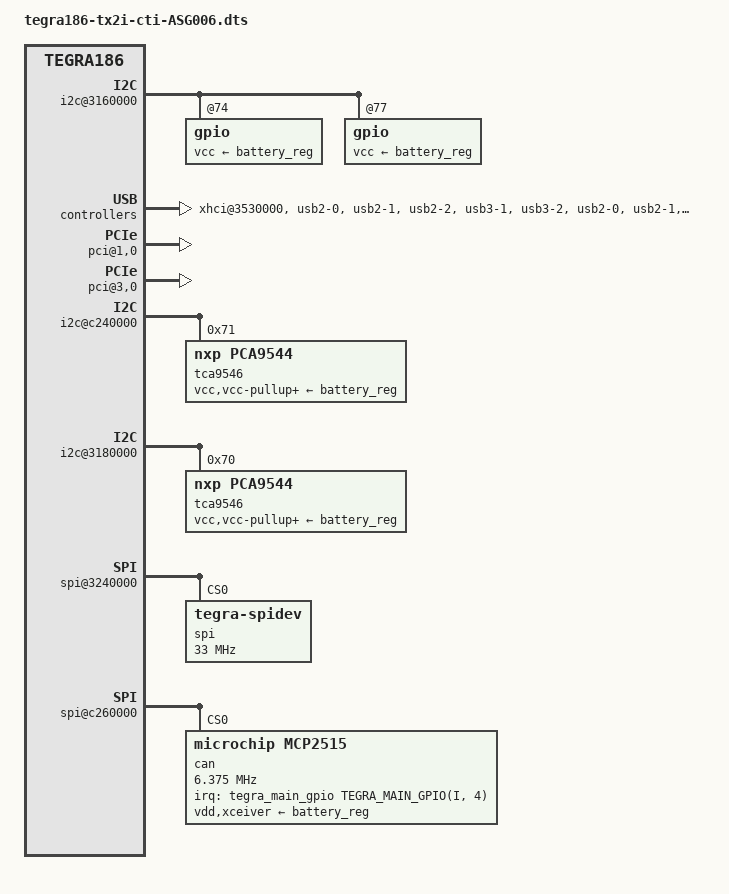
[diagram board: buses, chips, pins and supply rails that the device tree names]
#include "tegra186-tx2i-cti-base.dts"

/{
    nvidia,dtsfilename = "tegra186-tx2i-cti-ASG006.dts";

    gpio@2200000 {
    /*enable this to enabled PCIe Controller #2*/
        pcie0_lane2_mux {
             status = "okay";
        };
    /******************************************/
    /*enable these two to enable USB3 Port 0*/
        e3325_sdio_rst {
           status = "disabled";
        };
        e3325_lane0_mux {
            status = "disabled";
        };
    /******************************************/

    };
	
	pinmux@2430000 {
		common {
			gpio_cam4_pn3 {
				nvidia,pins = "gpio_cam4_pn3";
				nvidia,function = "spi4";
				nvidia,pull = <TEGRA_PIN_PULL_DOWN>;
				nvidia,tristate = <TEGRA_PIN_DISABLE>;
				nvidia,enable-input = <TEGRA_PIN_DISABLE>;
				nvidia,lpdr = <TEGRA_PIN_DISABLE>;
			};

			gpio_cam5_pn4 {
				nvidia,pins = "gpio_cam5_pn4";
				nvidia,function = "spi4";
				nvidia,pull = <TEGRA_PIN_PULL_DOWN>;
				nvidia,tristate = <TEGRA_PIN_ENABLE>;
				nvidia,enable-input = <TEGRA_PIN_ENABLE>;
				nvidia,lpdr = <TEGRA_PIN_DISABLE>;
			};

			gpio_cam6_pn5 {
				nvidia,pins = "gpio_cam6_pn5";
				nvidia,function = "spi4";
				nvidia,pull = <TEGRA_PIN_PULL_DOWN>;
				nvidia,tristate = <TEGRA_PIN_DISABLE>;
				nvidia,enable-input = <TEGRA_PIN_DISABLE>;
				nvidia,lpdr = <TEGRA_PIN_DISABLE>;
			};

			gpio_cam7_pn6 {
				nvidia,pins = "gpio_cam7_pn6";
				nvidia,function = "spi4";
				nvidia,pull = <TEGRA_PIN_PULL_UP>;
				nvidia,tristate = <TEGRA_PIN_DISABLE>;
				nvidia,enable-input = <TEGRA_PIN_DISABLE>;
				nvidia,lpdr = <TEGRA_PIN_DISABLE>;
			};
		};
	};



    i2c@3160000 {
        gpio@74{    //Camera GPIO
            status = "okay";
            vcc-supply = <&battery_reg>;

            /*PN - This is really bad practice to use gpio-hog to reserve the GPIOs
            The driver should really request them properly, maybe fix this in the
            future*/

            camera-rst{
                gpio-hog;
                output-low;
                gpios = <1 0 3 0 5 0 7 0>;
                label = "cam_c_rst", "cam_d_rst", "cam_e_rst", "cam_f_rst";

            };

        };
        gpio@77{
            status = "okay";
            vcc-supply = <&battery_reg>;
        };

    };



    xhci@3530000 {
        status = "okay";
        phys = <&{/xusb_padctl@3520000/pads/usb2/lanes/usb2-0}>,
            <&{/xusb_padctl@3520000/pads/usb2/lanes/usb2-1}>,
            <&{/xusb_padctl@3520000/pads/usb2/lanes/usb2-2}>,
            <&{/xusb_padctl@3520000/pads/usb3/lanes/usb3-1}>,
            <&{/xusb_padctl@3520000/pads/usb3/lanes/usb3-2}>;
        phy-names = "usb2-0", "usb2-1", "usb2-2", "usb3-1", "usb3-2";
    };


   xusb_padctl@3520000 {
        pads {
            usb2 {
                lanes {
                    usb2-0 {
                        status = "okay";
                    };
                    usb2-1 {
                        status = "okay";
                    };
                    usb2-2 {
                        status = "okay";
                    };
                };
            };
            usb3 {
                lanes {
                    usb3-0 {
                        status = "disabled";
                    };
                    usb3-1 {
                        status = "okay";
                    };
                    usb3-2 {
                        status = "okay";
                    };
                };
            };
        };
        ports {
            usb2-0 {
                status = "okay";
            };
            usb2-1 {
                status = "okay";
            };

            usb2-2 {
                status = "okay";
            };

            usb3-0 {
                nvidia,usb2-companion = <0>;
                status = "disabled";
            };
            usb3-1 {
                nvidia,usb2-companion = <1>;
                status = "okay";
            };
            usb3-2 {
                nvidia,usb2-companion = <2>;
                status = "okay";
            };
        };
    };
    pinctrl@3520000 {
        status = "okay";
           pinmux {
            usb2-port0 {
                status = "okay";
            };
            usb2-port1 {
                status = "okay";
            };

            usb2-port2 {
                status = "okay";
            };

            usb3-port0 {
                status = "disabled";
            };

            usb3-port1 {
                status = "okay";
            };

            usb3-port2 {
                status = "okay";
            };
        };
    };
    pcie-controller@10003000 {
        pci@1,0 {
            nvidia,num-lanes = <1>;
            status = "okay";
        };
        pci@2,0 {
            nvidia,num-lanes = <0>;
            status = "disabled";
        };
        pci@3,0 {
            nvidia,num-lanes = <1>;
            status = "okay";
        };
    };

   //needed for the cameras setup before including any camera dtsi
    i2c@c240000 {
        tca9546@71 {
            compatible = "nxp,pca9544";
            reg = <0x71>;
            #address-cells = <1>;
            vcc-supply = <&battery_reg>;
            vcc-pullup-supply = <&battery_reg>;
            #size-cells = <0>;
            vif-supply = <&battery_reg>;
            //skip_mux_detect = "yes";
            skip_mux_detect = "no";
            vcc_lp = "vif";
            force_bus_start = <0x22>;   //34

            i2c@0 {
                reg = <0>;
                i2c-mux,deselect-on-exit;
                #address-cells = <1>;
                #size-cells = <0>;
            };
            i2c@1 {
                reg = <1>;
                i2c-mux,deselect-on-exit;
                #address-cells = <1>;
                #size-cells = <0>;
            };
            i2c@2 {
                reg = <2>;
                i2c-mux,deselect-on-exit;
                #address-cells = <1>;
                #size-cells = <0>;
            };
        };
    };

   //needed for the cameras setup before including any camera dtsi
    i2c@3180000 {

        //get rid of the mux in the defautl device tree to eliminate conflicts
        /delete-node/ i2cmux@70;

        tca9546@70 {
            compatible = "nxp,pca9544";
            reg = <0x70>;
            #address-cells = <1>;
            #size-cells = <0>;
            vcc-supply = <&battery_reg>;
            vcc-pullup-supply = <&battery_reg>;
            vif-supply = <&battery_reg>;
            //skip_mux_detect = "yes";
            skip_mux_detect = "no";
            vcc_lp = "vif";
            force_bus_start = <0x1e>;   //30

            i2c@0 {
                reg = <0>;
                i2c-mux,deselect-on-exit;
                #address-cells = <1>;
                #size-cells = <0>;
            };
            i2c@1 {
                reg = <1>;
                i2c-mux,deselect-on-exit;
                #address-cells = <1>;
                #size-cells = <0>;
            };
            i2c@2 {
                reg = <2>;
                i2c-mux,deselect-on-exit;
                #address-cells = <1>;
                #size-cells = <0>;
            };


        };
    };
	
	spi@3240000 {
		status = "okay";
		spi@0 {
			compatible = "tegra-spidev";
			reg = <0x0>;
			spi-max-frequency = <33000000>;
			controller-data {
				nvidia,enable-hw-based-cs;
				nvidia,rx-clk-tap-delay = <0x8>;
				nvidia,tx-clk-tap-delay = <0x16>;
			};
		};
	};
	
    spi@c260000 {
        status = "okay";
        /delete-node/ spi-touch-sharp19x12@0;
        can@0 {
            status = "okay";
            compatible = "microchip,mcp2515";
            reg = <0>;
            clocks = <&can_clock>;
            interrupt-parent = <&tegra_main_gpio>;
                    /* the first cell defines the
                        index of the interrupt within the controller, while the second cell is used
                        to specify any of the following flags:
                        - bits[3:0] trigger type and level flags
                        1 = low-to-high edge triggered
                        2 = high-to-low edge triggered
                        4 = active high level-sensitive
                        8 = active low level-sensitive
                    */
            interrupts = <TEGRA_MAIN_GPIO(I, 4) 0x2>;
            vdd-supply = <&battery_reg>;
            xceiver-supply = <&battery_reg>;
            spi-max-frequency=<6375000>;
       };
    };

};
